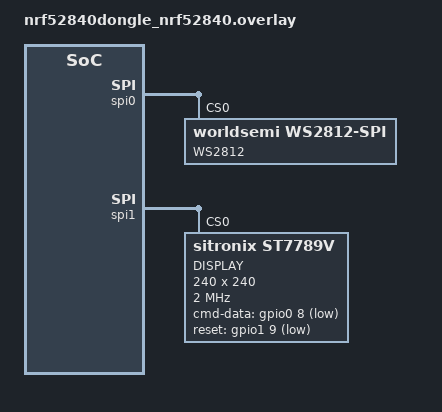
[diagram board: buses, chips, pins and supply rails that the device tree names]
/*
 * Copyright (c) 2019, Nordic Semiconductor ASA
 *
 * SPDX-License-Identifier: Apache-2.0
 */

#include "nrf52-bindings.h"

&spi0 { /* MOSI on D11 / P1.13 */
	led_strip: ws2812@0 {
		compatible = "worldsemi,ws2812-spi";
		label = "WS2812";

		/* SPI */
		reg = <0>; /* ignored, but necessary for SPI bindings */
		spi-max-frequency = <SPI_FREQ>;

		/* WS2812 */
		chain-length = <68>; /* arbitrary; change at will */
		spi-one-frame = <ONE_FRAME>;
		spi-zero-frame = <ZERO_FRAME>;
	};
};

/ {
	aliases {
		led-strip = &led_strip;
	};
};


// &spi2 {
// 	compatible = "nordic,nrf-spi";
// 	status = "okay";
// 	sck-pin = <19>;
// 	mosi-pin = <20>;
// 	miso-pin = <21>;
// };

// &spi1 {
// 	compatible = "nordic,nrf-spi";
// 	status = "okay";
// 	sck-pin = <31>;
// 	mosi-pin = <30>;
// 	miso-pin = <40>;
// };


/* 
 *	pin_no = PORT\*32 + PIN
 *	where a and b are from the Pin value in the table (Pb.a). For example, for P0.1, pin_no = 1 and for P1.0, pin_no = 32
*/

&spi1 {
	status = "okay";
	// cs-gpios = <&arduino_header 21 GPIO_ACTIVE_LOW>; /* D10 */ 
	//cs-gpios = <&gpio0 22 0>;

	st7789v@0 {
		compatible = "sitronix,st7789v";
		//label = "ST7789V";
		label = "DISPLAY";
		spi-max-frequency = <2000000>; //4000000 //10000000
		reg = <0>;
		cmd-data-gpios = <&gpio0 8 GPIO_ACTIVE_LOW>;	/* p1.11 */
		reset-gpios = <&gpio1 9 GPIO_ACTIVE_LOW>;	/* P1.10 */
		width = <240>;
		height = <240>;
		x-offset = <0>;
		y-offset = <0>;
		vcom = <0x19>;
		gctrl = <0x35>;
		vrhs = <0x12>;
		vdvs = <0x20>;
		mdac = <0x00>;
		gamma = <0x01>;
		colmod = <0x05>;
		lcm = <0x2c>;
		porch-param = [0c 0c 00 33 33];
		cmd2en-param = [5a 69 02 01];
		pwctrl1-param = [a4 a1];
		pvgam-param = [D0 04 0D 11 13 2B 3F 54 4C 18 0D 0B 1F 23];
		nvgam-param = [D0 04 0C 11 13 2C 3F 44 51 2F 1F 1F 20 23];
		ram-param = [00 F0];
		rgb-param = [CD 08 14];
	};
};
